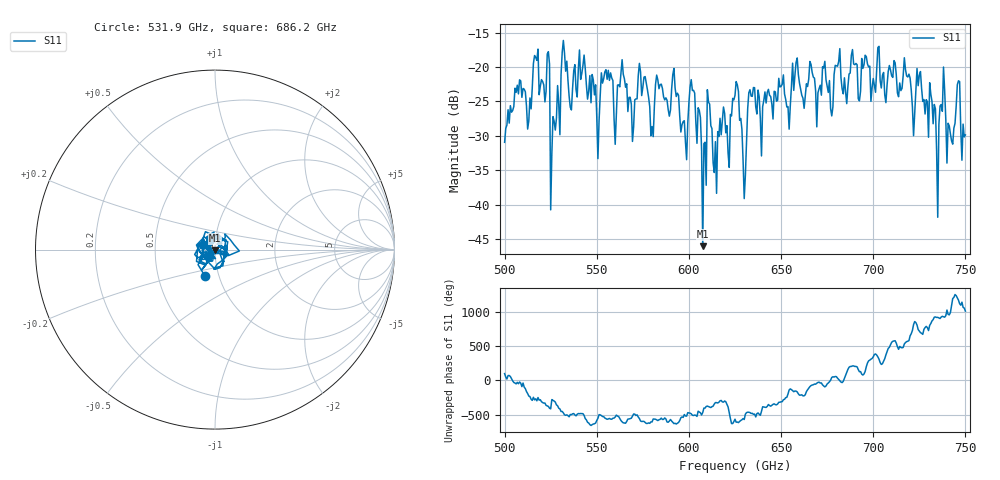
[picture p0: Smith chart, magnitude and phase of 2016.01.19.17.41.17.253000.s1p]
!Created with skrf (http://scikit-rf.org).
# GHz S RI R 50.0
!freq ReS11 ImS11
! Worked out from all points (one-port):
!   401 points, 500 GHz to 750 GHz, reference 50 ohm
!   lowest |S11| = -46.0 dB at 607.5 GHz (marker M1), VSWR 1.01, Z = 49.9 - j0.478 ohm
!   |S11| at or under -10 dB: start of sweep to end of sweep
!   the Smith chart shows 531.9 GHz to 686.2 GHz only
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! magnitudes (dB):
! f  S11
! 500 GHz  -30.9
! 507.5 GHz  -23.9
! 513.1 GHz  -27.8
! 516.9 GHz  -18.6
! 523.1 GHz  -18.1
! 526.2 GHz  -27.2
! 531.2 GHz  -17.9
! 541.9 GHz  -21.0
! 550 GHz  -27.2
! 562.5 GHz  -22.9
! 580 GHz  -28.7
! 583.1 GHz  -21.8
! 593.8 GHz  -23.8
! 598.1 GHz  -30.9
! 601.9 GHz  -23.4
! 607.5 GHz  -46.0
! 611.2 GHz  -25.4
! 614.4 GHz  -30.8
! 625 GHz  -24.1
! 630 GHz  -39.1
! 633.8 GHz  -24.2
! 656.2 GHz  -19.4
! 687.5 GHz  -20.9
! 718.8 GHz  -21.4
! 731.9 GHz  -25.0
! 733.8 GHz  -26.1
! 737.5 GHz  -26.4
! 750 GHz  -29.9
